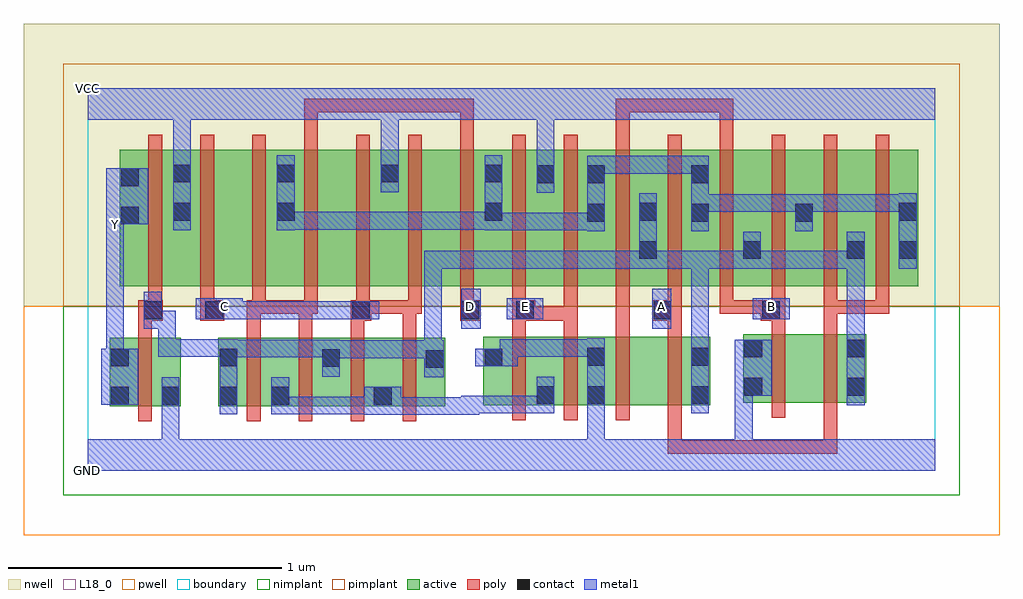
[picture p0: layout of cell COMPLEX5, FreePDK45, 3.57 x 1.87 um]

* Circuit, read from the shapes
.subckt COMPLEX5 A B C D E GND VCC Y
M1 GND n1 Y VSUBS nfet w=0.25u l=0.05u
M2 n2 D n1 VSUBS nfet w=0.25u l=0.05u m=2
M3 n2 C n1 VSUBS nfet w=0.25u l=0.05u m=2
M4 n2 E GND VSUBS nfet w=0.25u l=0.05u m=2
M5 n3 B GND VSUBS nfet w=0.25u l=0.05u
M6 n1 A n3 VSUBS nfet w=0.25u l=0.05u
M7 n4 B GND VSUBS nfet w=0.25u l=0.05u
M8 n1 A n4 VSUBS nfet w=0.25u l=0.05u
M9 VCC n1 Y n5 pfet w=0.5u l=0.05u
M10 n6 C VCC n5 pfet w=0.5u l=0.05u
M11 n7 D n6 n5 pfet w=0.5u l=0.05u
M12 n8 D n7 n5 pfet w=0.5u l=0.05u
M13 VCC C n8 n5 pfet w=0.5u l=0.05u
M14 n9 C VCC n5 pfet w=0.5u l=0.05u
M15 n7 D n9 n5 pfet w=0.5u l=0.05u
M16 VCC E n7 n5 pfet w=0.5u l=0.05u m=2
M17 n1 B n7 n5 pfet w=0.5u l=0.05u m=3
M18 n7 A n1 n5 pfet w=0.5u l=0.05u m=3
.ends

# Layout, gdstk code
import gdstk
lib = gdstk.Library(unit=1e-6, precision=1e-09)
def R(c, l, rs):  # rectangles x0, y0, x1, y1
    for r in rs: c.add(gdstk.rectangle(r[:2], r[2:], *l))
def A(c, l, x, y, w, h, nx, ny, dx, dy):  # array of equal rectangles
    R(c, l, [(x+i*dx, y+j*dy, x+i*dx+w, y+j*dy+h) for i in range(nx) for j in range(ny)])
active = (1, 0)
pwell = (2, 0)
nwell = (3, 0)
nimplant = (4, 0)
pimplant = (5, 0)
poly = (9, 0)
contact = (10, 0)
metal1 = (11, 0)
L18_0 = (18, 0)
boundary = (235, 0)

complex5 = lib.new_cell('COMPLEX5')
A(complex5, active, 0.307, 0.675, 0.225, 0.5, 3, 1, 0.38, 0)
A(complex5, active, 0.532, 0.675, 0.23, 0.5, 3, 1, 0.38, 0)
A(complex5, active, 1.822, 0.675, 0.265, 0.5, 6, 1, 0.19, 0)
A(complex5, active, 2.012, 0.675, 0.075, 0.395, 3, 1, 0.38, 0)
R(complex5, active, [(0.08,0.237,0.155,0.487), (0.08,0.237,0.34,0.487), (0.265,0.237,0.34,0.487), (0.477,0.237,0.552,0.487), (0.477,0.237,0.742,0.487), (0.667,0.237,0.742,0.487), (0.667,0.237,0.927,0.487), (0.852,0.237,1.117,0.487), (1.042,0.237,1.307,0.487), (1.042,0.237,1.117,0.405), (1.447,0.24,1.712,0.49), (1.637,0.24,1.897,0.49), (1.637,0.24,1.712,0.342), (1.822,0.24,2.052,0.49), (1.822,0.24,1.897,0.455), (2.052,0.24,2.277,0.49), (2.202,0.24,2.277,0.49), (2.397,0.25,2.472,0.5), (2.397,0.25,2.622,0.5), (2.622,0.25,2.847,0.5), (2.772,0.25,2.847,0.5), (0.852,0.297,0.927,0.45), (1.232,0.297,1.307,0.487), (1.447,0.297,1.522,0.49), (0.117,0.675,0.382,1.175), (0.117,0.675,0.192,1.175), (1.447,0.675,1.712,1.175), (1.637,0.675,1.897,1.175), (2.962,0.675,3.037,1.157), (1.067,0.682,1.142,1.175), (2.202,0.697,2.277,1.157), (2.582,0.777,2.657,1.157), (0.307,0.807,0.382,1.175), (0.687,0.807,0.762,1.157), (1.447,0.807,1.522,1.175), (1.637,0.807,1.712,1.175), (1.822,0.807,1.897,1.175)])
R(complex5, pwell, [(-0.235,-0.235,3.335,0.602)])
R(complex5, nwell, [(-0.235,0.602,3.335,1.635)])
R(complex5, nimplant, [(-0.09,-0.09,3.19,0.602)])
R(complex5, pimplant, [(-0.09,0.602,3.19,1.49)])
A(complex5, poly, 0.582, 0.182, 0.05, 0.36, 4, 1, 0.19, 0)
A(complex5, poly, 1.552, 0.185, 0.05, 0.36, 4, 1, 0.19, 0)
A(complex5, poly, 0.222, 0.575, 0.05, 0.095, 8, 1, 0.19, 0)
A(complex5, poly, 1.932, 0.575, 0.05, 0.095, 6, 1, 0.19, 0)
A(complex5, poly, 0.222, 0.62, 0.05, 0.61, 15, 1, 0.19, 0)
A(complex5, poly, 0.792, 1.18, 0.05, 0.182, 3, 1, 0.57, 0)
R(complex5, poly, [(2.122,0.062,2.172,0.112), (2.122,0.062,2.172,0.112), (2.122,0.062,2.172,0.112), (2.122,0.062,2.38,0.112), (2.122,0.062,2.172,0.235), (2.33,0.062,2.38,0.112), (2.33,0.062,2.61,0.112), (2.56,0.062,2.61,0.112), (2.56,0.062,2.61,0.112), (2.56,0.062,2.61,0.112), (2.56,0.062,2.742,0.112), (2.692,0.062,2.742,0.112), (2.692,0.062,2.742,0.112), (2.692,0.062,2.742,0.112), (2.692,0.062,2.742,0.245), (0.185,0.182,0.235,0.542), (2.502,0.195,2.552,0.555), (2.692,0.195,2.742,0.555), (0.185,0.492,0.235,0.6), (0.582,0.492,0.632,0.625), (0.772,0.492,0.822,0.625), (0.962,0.492,1.012,0.6), (1.152,0.492,1.202,0.625), (1.552,0.495,1.602,0.6), (1.742,0.495,1.792,0.6), (1.932,0.495,1.982,0.625), (2.122,0.495,2.172,0.6), (2.502,0.505,2.552,0.6), (2.692,0.505,2.742,0.625), (0.185,0.55,0.275,0.625), (0.412,0.55,0.5,0.625), (0.962,0.55,1.037,0.625), (1.362,0.55,1.437,0.625), (1.552,0.55,1.637,0.625), (1.587,0.55,1.792,0.6), (1.742,0.55,1.792,0.6), (1.742,0.55,1.792,0.6), (1.742,0.55,1.792,0.6), (1.742,0.55,1.792,0.67), (2.065,0.55,2.172,0.625), (2.462,0.55,2.552,0.625), (0.582,0.575,0.652,0.625), (0.602,0.575,0.652,0.625), (0.602,0.575,0.652,0.625), (0.602,0.575,0.822,0.625), (0.772,0.575,0.842,0.625), (0.987,0.575,1.202,0.625), (1.152,0.575,1.202,0.625), (1.152,0.575,1.202,0.625), (1.152,0.575,1.222,0.625), (1.932,0.575,1.982,0.625), (2.312,0.575,2.362,0.625), (2.312,0.575,2.362,0.625), (2.312,0.575,2.362,0.625), (2.312,0.575,2.512,0.625), (2.692,0.575,2.742,0.625), (2.692,0.575,2.932,0.625), (2.882,0.575,2.932,0.625), (2.882,0.575,2.932,0.625), (2.882,0.575,2.932,0.625), (2.312,1.18,2.362,1.362), (0.792,1.312,0.842,1.362), (0.792,1.312,0.842,1.362), (0.792,1.312,0.842,1.362), (0.792,1.312,0.975,1.362), (0.925,1.312,0.975,1.362), (0.925,1.312,0.975,1.362), (0.925,1.312,0.975,1.362), (0.925,1.312,1.28,1.362), (1.23,1.312,1.28,1.362), (1.23,1.312,1.412,1.362), (1.362,1.312,1.412,1.362), (1.362,1.312,1.412,1.362), (1.362,1.312,1.412,1.362), (1.932,1.312,1.982,1.362), (1.932,1.312,1.982,1.362), (1.932,1.312,1.982,1.362), (1.932,1.312,2.23,1.362), (2.18,1.312,2.23,1.362), (2.18,1.312,2.23,1.362), (2.18,1.312,2.23,1.362), (2.18,1.312,2.362,1.362), (2.312,1.312,2.362,1.362)])
A(complex5, contact, 2.017, 0.775, 0.065, 0.065, 3, 1, 0.38, 0)
A(complex5, contact, 1.827, 0.912, 0.065, 0.065, 3, 1, 0.38, 0)
A(complex5, contact, 0.312, 1.055, 0.065, 0.065, 4, 1, 0.38, 0)
R(complex5, contact, [(0.085,0.242,0.15,0.307), (0.27,0.242,0.335,0.307), (0.482,0.242,0.547,0.307), (0.672,0.242,0.737,0.307), (1.047,0.242,1.112,0.307), (1.642,0.245,1.707,0.31), (1.827,0.245,1.892,0.31), (2.207,0.245,2.272,0.31), (2.402,0.275,2.467,0.34), (2.777,0.275,2.842,0.34), (1.237,0.377,1.302,0.442), (0.857,0.38,0.922,0.445), (0.085,0.382,0.15,0.447), (0.482,0.382,0.547,0.447), (1.452,0.382,1.517,0.447), (1.827,0.385,1.892,0.45), (2.207,0.385,2.272,0.45), (2.402,0.415,2.467,0.48), (2.777,0.415,2.842,0.48), (0.205,0.555,0.27,0.62), (0.43,0.555,0.495,0.62), (0.967,0.555,1.032,0.62), (1.367,0.555,1.432,0.62), (1.567,0.555,1.632,0.62), (2.07,0.555,2.135,0.62), (2.467,0.555,2.532,0.62), (2.967,0.775,3.032,0.84), (0.122,0.902,0.187,0.967), (0.312,0.915,0.377,0.98), (0.692,0.915,0.757,0.98), (1.452,0.915,1.517,0.98), (2.017,0.915,2.082,0.98), (2.967,0.915,3.032,0.98), (0.122,1.042,0.187,1.107), (1.642,1.052,1.707,1.117), (1.827,1.052,1.892,1.117), (2.207,1.052,2.272,1.117)])
A(complex5, metal1, 1.827, 0.74, 0.255, 0.065, 3, 1, 0.19, 0)
R(complex5, metal1, [(0,0,3.1,0.115), (0.27,0.05,0.335,0.115), (0.27,0.05,0.335,0.115), (0.27,0.05,0.335,0.115), (0.27,0.05,0.335,0.115), (0.27,0.05,0.335,0.272), (1.827,0.05,1.892,0.115), (1.827,0.05,1.892,0.115), (1.827,0.05,1.892,0.115), (1.827,0.05,1.892,0.115), (1.827,0.05,1.892,0.275), (2.367,0.05,2.432,0.34), (1.012,0.205,1.147,0.307), (1.082,0.205,1.285,0.27), (1.22,0.205,1.285,0.27), (1.22,0.205,1.285,0.27), (1.22,0.205,1.285,0.27), (1.22,0.205,1.432,0.27), (1.367,0.205,1.432,0.275), (0.27,0.207,0.335,0.342), (0.482,0.207,0.547,0.482), (0.672,0.207,0.737,0.342), (0.672,0.207,0.86,0.272), (0.795,0.207,0.86,0.272), (0.795,0.207,0.895,0.272), (0.83,0.207,0.895,0.272), (0.83,0.207,0.997,0.272), (0.932,0.207,0.997,0.272), (0.932,0.207,1.077,0.272), (1.367,0.21,1.57,0.275), (1.505,0.21,1.57,0.275), (1.505,0.21,1.57,0.275), (1.505,0.21,1.57,0.275), (1.505,0.21,1.707,0.275), (1.642,0.21,1.707,0.345), (1.827,0.21,1.892,0.485), (2.207,0.21,2.272,0.485), (2.777,0.24,2.842,0.515), (0.05,0.242,0.185,0.447), (2.367,0.275,2.432,0.34), (2.367,0.275,2.432,0.34), (2.367,0.275,2.432,0.34), (2.367,0.275,2.432,0.34), (2.367,0.275,2.502,0.48), (1.23,0.342,1.302,0.477), (0.857,0.345,0.922,0.48), (0.067,0.382,0.132,0.897), (1.417,0.382,1.552,0.447), (1.487,0.382,1.572,0.447), (1.507,0.382,1.572,0.482), (0.857,0.412,0.997,0.477), (0.932,0.412,0.997,0.477), (0.932,0.412,1.06,0.477), (0.995,0.412,1.06,0.477), (0.995,0.412,1.295,0.477), (1.23,0.412,1.295,0.477), (1.23,0.412,1.295,0.477), (1.23,0.412,1.295,0.805), (0.482,0.415,0.705,0.48), (0.64,0.415,0.705,0.48), (0.64,0.415,0.705,0.48), (0.64,0.415,0.705,0.48), (0.64,0.415,0.842,0.48), (0.777,0.415,0.842,0.48), (0.777,0.415,0.922,0.48), (0.257,0.417,0.322,0.482), (0.257,0.417,0.547,0.482), (0.257,0.417,0.322,0.585), (0.482,0.417,0.547,0.482), (0.482,0.417,0.547,0.482), (1.507,0.417,1.707,0.482), (1.642,0.417,1.707,0.482), (1.642,0.417,1.755,0.482), (1.69,0.417,1.755,0.482), (1.69,0.417,1.892,0.482), (1.827,0.417,1.892,0.485), (1.827,0.42,1.892,0.485), (2.207,0.42,2.272,0.485), (2.207,0.42,2.272,0.485), (2.207,0.42,2.272,0.805), (2.777,0.45,2.842,0.805), (0.205,0.52,0.27,0.655), (0.205,0.52,0.322,0.585), (0.257,0.52,0.322,0.585), (1.367,0.52,1.437,0.667), (2.065,0.52,2.135,0.667), (0.395,0.555,0.567,0.632), (0.502,0.555,0.567,0.62), (0.502,0.555,0.567,0.62), (0.502,0.555,0.705,0.62), (0.64,0.555,0.705,0.62), (0.64,0.555,0.705,0.62), (0.64,0.555,0.705,0.62), (0.64,0.555,0.842,0.62), (0.777,0.555,0.842,0.62), (0.777,0.555,0.895,0.62), (0.83,0.555,0.895,0.62), (0.83,0.555,0.997,0.62), (0.932,0.555,1.067,0.62), (1.532,0.555,1.667,0.632), (2.432,0.555,2.567,0.632), (1.23,0.74,1.295,0.805), (1.23,0.74,1.295,0.805), (1.23,0.74,1.295,0.805), (1.23,0.74,1.432,0.805), (1.367,0.74,1.432,0.805), (1.367,0.74,1.432,0.805), (1.367,0.74,1.432,0.805), (1.367,0.74,1.57,0.805), (1.505,0.74,1.57,0.805), (1.505,0.74,1.755,0.805), (1.69,0.74,1.755,0.805), (1.69,0.74,1.755,0.805), (1.69,0.74,1.755,0.805), (1.69,0.74,1.892,0.805), (1.827,0.74,1.892,0.805), (1.827,0.74,1.892,0.805), (1.827,0.74,1.892,0.805), (2.017,0.74,2.082,0.805), (2.017,0.74,2.082,0.805), (2.017,0.74,2.082,1.015), (2.207,0.74,2.272,0.805), (2.207,0.74,2.272,0.805), (2.207,0.74,2.272,0.805), (2.397,0.74,2.462,0.805), (2.397,0.74,2.462,0.805), (2.397,0.74,2.6,0.805), (2.397,0.74,2.462,0.875), (2.535,0.74,2.6,0.805), (2.535,0.74,2.842,0.805), (2.777,0.74,2.842,0.805), (2.777,0.74,2.842,0.805), (2.777,0.74,2.842,0.805), (2.777,0.74,2.842,0.805), (2.777,0.74,2.842,0.875), (2.967,0.74,3.032,1.015), (0.067,0.832,0.132,0.967), (1.827,0.877,1.892,1.152), (2.207,0.877,2.272,1.152), (2.587,0.877,2.652,1.012), (0.312,0.88,0.377,1.155), (0.692,0.88,0.757,1.155), (1.452,0.88,1.517,1.155), (1.452,0.88,1.57,0.945), (1.505,0.88,1.57,0.945), (1.505,0.88,1.755,0.945), (1.69,0.88,1.755,0.945), (1.69,0.88,1.755,0.945), (1.69,0.88,1.755,0.945), (1.69,0.88,1.892,0.945), (0.692,0.882,0.86,0.947), (0.795,0.882,0.86,0.947), (0.795,0.882,0.895,0.947), (0.83,0.882,0.895,0.947), (0.83,0.882,1.06,0.947), (0.995,0.882,1.06,0.947), (0.995,0.882,1.06,0.947), (0.995,0.882,1.06,0.947), (0.995,0.882,1.197,0.947), (1.132,0.882,1.197,0.947), (1.132,0.882,1.295,0.947), (1.23,0.882,1.295,0.947), (1.23,0.882,1.432,0.947), (1.367,0.882,1.432,0.947), (1.367,0.882,1.517,0.947), (0.067,0.902,0.132,0.967), (0.067,0.902,0.222,1.107), (2.207,0.947,2.272,1.012), (2.207,0.947,2.272,1.012), (2.207,0.947,2.41,1.012), (2.345,0.947,2.41,1.012), (2.345,0.947,2.41,1.012), (2.345,0.947,2.41,1.012), (2.345,0.947,2.652,1.012), (2.587,0.947,2.652,1.012), (2.587,0.947,2.652,1.012), (2.587,0.947,2.79,1.012), (2.725,0.947,2.79,1.012), (2.725,0.947,3.032,1.012), (2.967,0.947,3.032,1.012), (2.967,0.947,3.032,1.012), (1.642,1.017,1.707,1.152), (1.072,1.02,1.137,1.155), (1.642,1.087,1.707,1.152), (1.642,1.087,1.707,1.152), (1.642,1.087,1.707,1.35), (1.827,1.087,1.892,1.152), (1.827,1.087,1.892,1.152), (1.827,1.087,2.035,1.152), (1.97,1.087,2.035,1.152), (1.97,1.087,2.035,1.152), (1.97,1.087,2.035,1.152), (1.97,1.087,2.272,1.152), (0.312,1.09,0.377,1.35), (1.072,1.09,1.137,1.35), (0,1.285,3.1,1.4), (0.312,1.285,0.377,1.35), (0.312,1.285,0.377,1.35), (1.072,1.285,1.137,1.35), (1.072,1.285,1.137,1.35)])
R(complex5, L18_0, [(0,0,3.1,0.115), (0.27,0.05,0.335,0.115), (0.27,0.05,0.335,0.115), (0.27,0.05,0.335,0.115), (0.27,0.05,0.335,0.115), (0.27,0.05,0.335,0.272), (1.827,0.05,1.892,0.115), (1.827,0.05,1.892,0.115), (1.827,0.05,1.892,0.115), (1.827,0.05,1.892,0.115), (1.827,0.05,1.892,0.275), (2.367,0.05,2.432,0.34), (0.27,0.207,0.335,0.342), (1.827,0.21,1.892,0.485), (0.05,0.242,0.185,0.447), (2.367,0.275,2.502,0.48), (2.367,0.275,2.432,0.34), (2.367,0.275,2.432,0.34), (2.367,0.275,2.432,0.34), (2.367,0.275,2.432,0.34), (0.067,0.382,0.132,0.897), (1.417,0.382,1.552,0.447), (1.487,0.382,1.572,0.447), (1.507,0.382,1.572,0.482), (1.507,0.417,1.707,0.482), (1.642,0.417,1.707,0.482), (1.642,0.417,1.755,0.482), (1.69,0.417,1.755,0.482), (1.69,0.417,1.892,0.482), (1.827,0.417,1.892,0.485), (1.827,0.42,1.892,0.485), (1.367,0.52,1.437,0.667), (2.065,0.52,2.135,0.667), (0.395,0.555,0.567,0.632), (0.502,0.555,0.567,0.62), (0.502,0.555,0.567,0.62), (0.502,0.555,0.705,0.62), (0.64,0.555,0.705,0.62), (0.64,0.555,0.705,0.62), (0.64,0.555,0.705,0.62), (0.64,0.555,0.842,0.62), (0.777,0.555,0.842,0.62), (0.777,0.555,0.895,0.62), (0.83,0.555,0.895,0.62), (0.83,0.555,0.997,0.62), (0.932,0.555,1.067,0.62), (1.532,0.555,1.667,0.632), (2.432,0.555,2.567,0.632), (0.467,0.567,0.532,0.632), (1.367,0.567,1.432,0.632), (1.567,0.567,1.632,0.632), (2.067,0.567,2.132,0.632), (2.467,0.567,2.532,0.632), (0.067,0.832,0.132,0.967), (0.067,0.867,0.132,0.932), (0.312,0.88,0.377,1.155), (0.067,0.902,0.222,1.107), (0.067,0.902,0.132,0.967), (1.642,1.017,1.707,1.152), (1.072,1.02,1.137,1.155), (1.642,1.087,1.707,1.152), (1.642,1.087,1.707,1.152), (1.642,1.087,1.707,1.35), (0.312,1.09,0.377,1.35), (1.072,1.09,1.137,1.35), (0,1.285,3.1,1.4), (0.312,1.285,0.377,1.35), (0.312,1.285,0.377,1.35), (1.072,1.285,1.137,1.35), (1.072,1.285,1.137,1.35)])
R(complex5, boundary, [(0,0,3.1,1.4)])
complex5.add(gdstk.Label('A', (2.1,0.6), layer=11, texttype=0))
complex5.add(gdstk.Label('B', (2.5,0.6), layer=11, texttype=0))
complex5.add(gdstk.Label('C', (0.5,0.6), layer=11, texttype=0))
complex5.add(gdstk.Label('D', (1.4,0.6), layer=11, texttype=0))
complex5.add(gdstk.Label('E', (1.6,0.6), layer=11, texttype=0))
complex5.add(gdstk.Label('Y', (0.1,0.9), layer=11, texttype=0))
complex5.add(gdstk.Label('VCC', (0,1.4), layer=11, texttype=0))
complex5.add(gdstk.Label('GND', (0,0), layer=11, texttype=0))

lib.write_gds('COMPLEX5.gds')
